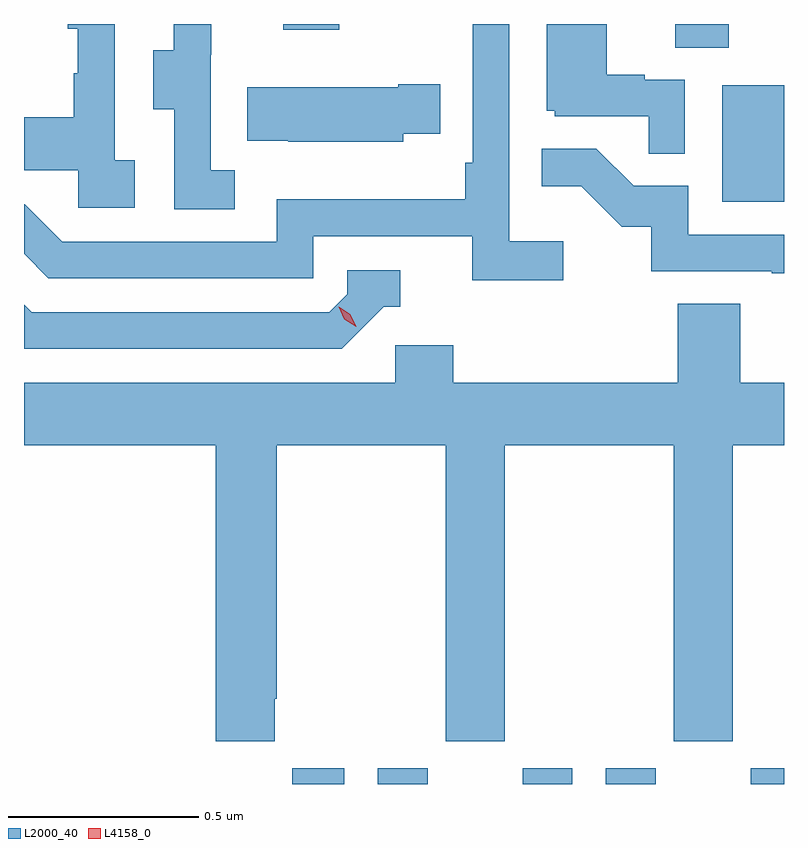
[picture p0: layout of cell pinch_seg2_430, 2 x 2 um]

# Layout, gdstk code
import gdstk
lib = gdstk.Library(unit=1e-6, precision=1e-09)
def R(c, l, rs):  # rectangles x0, y0, x1, y1
    for r in rs: c.add(gdstk.rectangle(r[:2], r[2:], *l))
def P(c, l, *ps):  # polygons
    for p in ps: c.add(gdstk.Polygon(p, *l))
L2000_40 = (2000, 40)
L4158_0 = (4158, 0)

pinch_seg2_430 = lib.new_cell('pinch_seg2_430')
R(pinch_seg2_430, L2000_40, [(945.227,606.784,945.364,606.826), (945.452,606.784,945.583,606.826), (945.833,606.784,945.964,606.826), (946.052,606.784,946.183,606.826), (946.433,606.784,946.521,606.826), (946.358,608.316,946.521,608.623), (946.235,608.722,946.375,608.784), (945.203,608.769,945.351,608.784)])
P(pinch_seg2_430, L2000_40, [(945.076,608.399),(945.012,608.399),(945.012,608.703),(945.014,608.703),(945.014,608.784),(944.915,608.784),(944.915,608.715),(944.861,608.715),(944.861,608.56),(944.916,608.56),(944.916,608.296),(945.076,608.296)],
  [(944.812,608.426),(944.76,608.426),(944.76,608.784),(944.636,608.784),(944.636,608.772),(944.662,608.772),(944.662,608.654),(944.652,608.654),(944.652,608.539),(944.521,608.539),(944.521,608.399),(944.664,608.399),(944.664,608.301),(944.812,608.301)],
  [(945.94,608.212),(945.798,608.212),(945.798,608.784),(945.702,608.784),(945.702,608.419),(945.682,608.419),(945.682,608.323),(945.186,608.323),(945.186,608.211),(944.622,608.211),(944.523,608.31),(944.521,608.31),(944.521,608.179),(944.585,608.115),(945.282,608.115),(945.282,608.226),(945.701,608.226),(945.701,608.11),(945.94,608.11)],
  [(946.26,608.637),(946.154,608.637),(946.154,608.65),(946.054,608.65),(946.054,608.784),(945.896,608.784),(945.896,608.556),(945.918,608.556),(945.918,608.541),(946.165,608.541),(946.165,608.443),(946.26,608.443)],
  [(945.519,608.495),(945.617,608.495),(945.617,608.625),(945.506,608.625),(945.506,608.617),(945.109,608.617),(945.109,608.477),(945.217,608.477),(945.217,608.474),(945.519,608.474)],
  [(946.521,608.229),(946.269,608.229),(946.269,608.358),(946.125,608.358),(946.027,608.456),(945.883,608.456),(945.883,608.357),(945.987,608.357),(946.094,608.25),(946.171,608.25),(946.171,608.133),(946.489,608.133),(946.489,608.128),(946.521,608.128)],
  [(945.468,608.04),(945.511,608.04),(945.511,608.136),(945.372,608.136),(945.372,608.073),(945.324,608.025),(944.541,608.025),(944.521,608.045),(944.521,607.929),(945.357,607.929)],
  [(945.181,607.009),(945.186,607.009),(945.186,607.676),(945.631,607.676),(945.631,606.897),(945.786,606.897),(945.786,607.676),(946.231,607.676),(946.231,606.897),(946.386,606.897),(946.386,607.676),(946.521,607.676),(946.521,607.84),(946.406,607.84),(946.406,608.048),(946.241,608.048),(946.241,607.84),(945.65,607.84),(945.65,607.938),(945.498,607.938),(945.498,607.84),(944.521,607.84),(944.521,607.676),(945.026,607.676),(945.026,606.897),(945.181,606.897)])
P(pinch_seg2_430, L4158_0, [(945.395,607.987),(945.364,608.007),(945.349,608.04),(945.349,608.04),(945.349,608.04),(945.379,608.02),(945.395,607.987),(945.395,607.987)])

lib.write_gds('pinch_seg2_430.gds')
